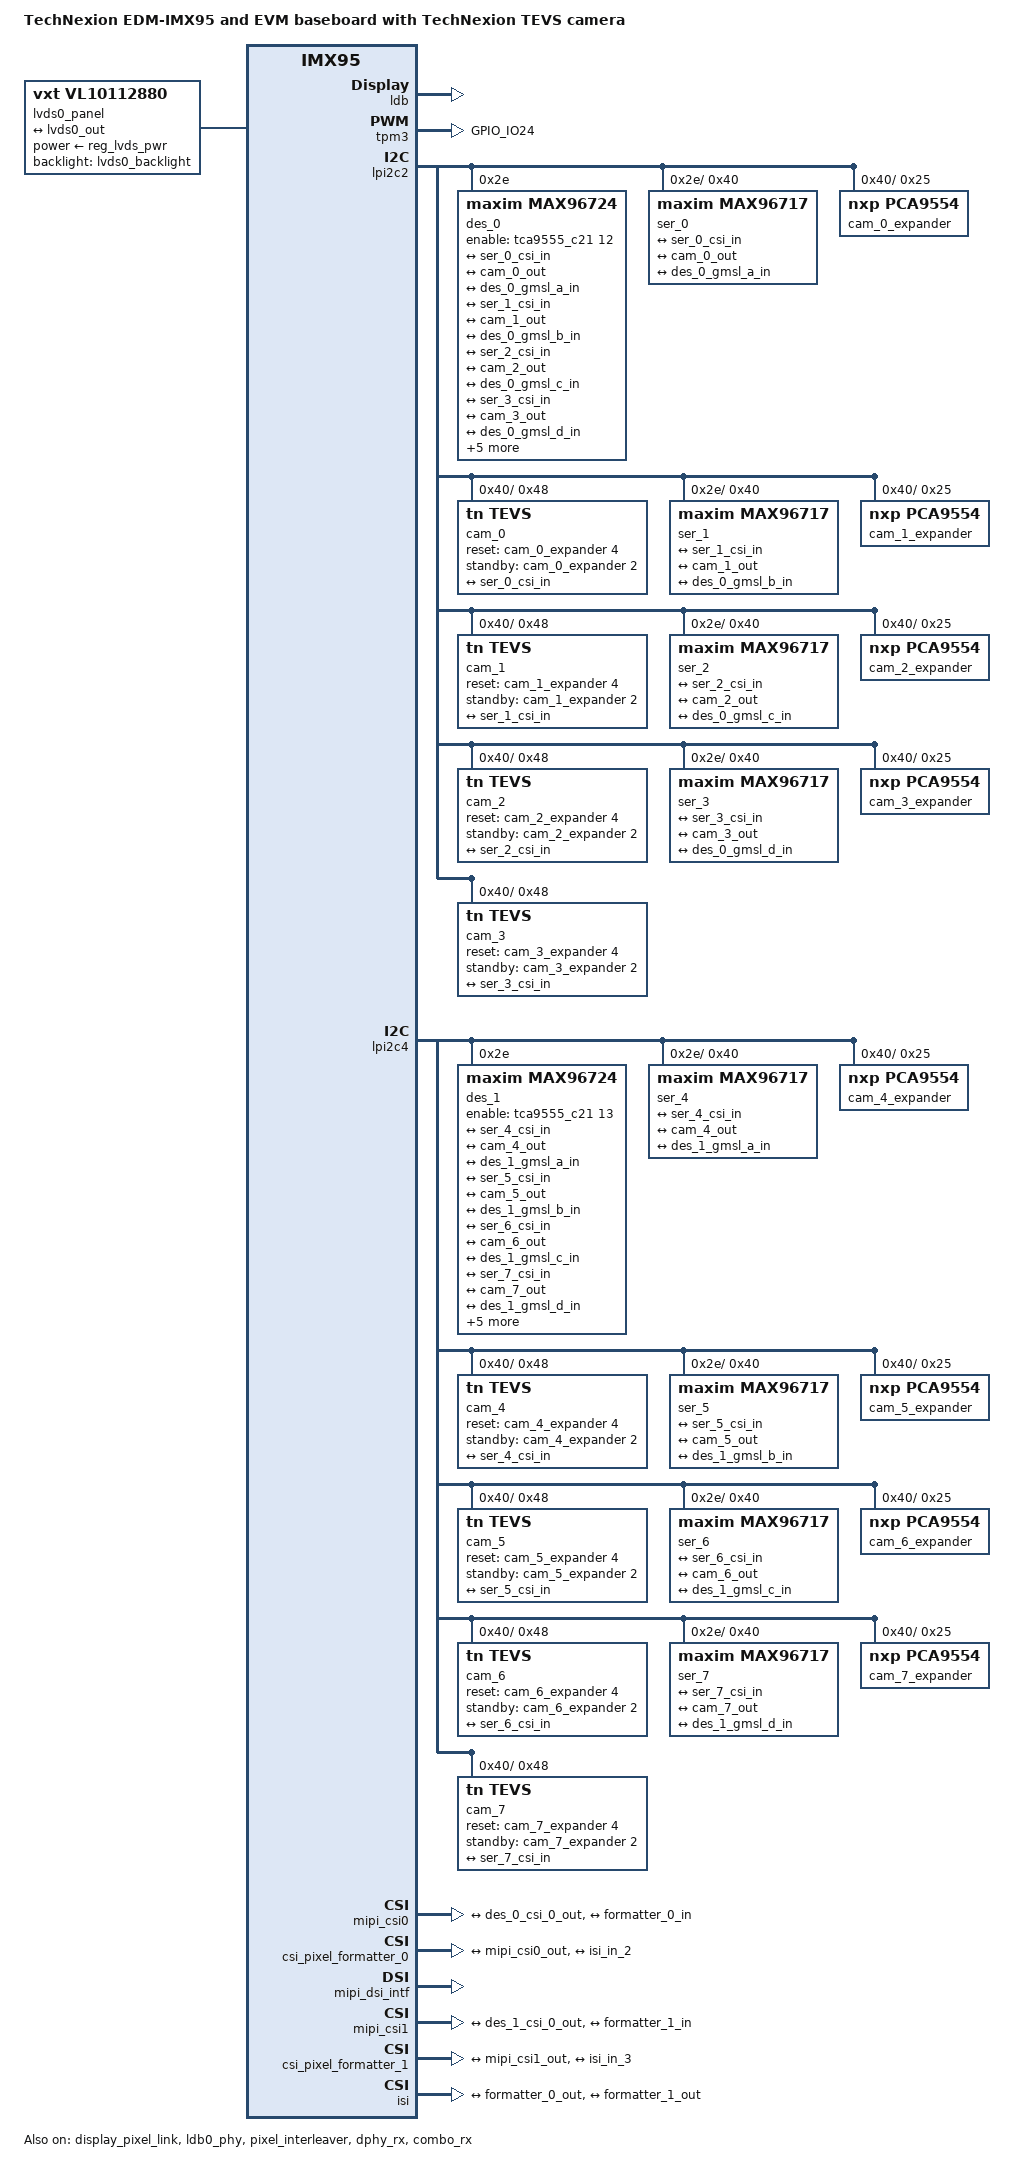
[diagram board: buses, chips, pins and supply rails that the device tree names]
// SPDX-License-Identifier: (GPL-2.0 OR MIT)
/*
 * Copyright 2024 TechNexion Ltd.
 *
 * Author: Richard Hu <richard.hu@technexion.com>
 *
 */

/dts-v1/;

#include "imx95-edm-evm.dts"

/ {
	model = "TechNexion EDM-IMX95 and EVM baseboard with TechNexion TEVS camera";
	compatible = "fsl,imx95-edm", "fsl,imx95";

	reg_lvds_pwr: regulator-lvds-pwr {	/* LVDS0_VDDEN */
		status = "okay";
	};

	lvds0_backlight: backlight {
		status = "okay";
	};

	lvds0_panel {
		compatible = "vxt,vl10112880", "panel-lvds";
		backlight = <&lvds0_backlight>;
		power-supply = <&reg_lvds_pwr>;
		data-mapping = "vesa-24";
		height-mm = <161>;
		width-mm = <243>;
		panel-timing {
			clock-frequency = <71100000>;
			hactive = <1280>;
			vactive = <800>;
			hback-porch = <40>;
			hfront-porch = <40>;
			vback-porch = <10>;
			vfront-porch = <3>;
			hsync-len = <80>;
			vsync-len = <10>;
			de-active = <1>;
		};
		port {
			panel_in: endpoint {
				remote-endpoint = <&lvds0_out>;
			};
		};
	};

};

&display_pixel_link {
	status = "okay";
};

&ldb {
	#address-cells = <1>;
	#size-cells = <0>;
	assigned-clocks = <&scmi_clk IMX95_CLK_LDBPLL_VCO>,
			  <&scmi_clk IMX95_CLK_LDBPLL>;
	assigned-clock-rates = <2986200000>, <497700000>;
	status = "okay";

	channel@0 {
		#address-cells = <1>;
		#size-cells = <0>;
		reg = <0>;
		status = "okay";

		port@1 {
			reg = <1>;

			lvds0_out: endpoint {
				remote-endpoint = <&panel_in>;
			};
		};
	};
};

&ldb0_phy {
	status = "okay";
};

&pixel_interleaver {
	#address-cells = <1>;
	#size-cells = <0>;
	status = "okay";

	channel@0 {
		reg = <0>;
		status = "okay";
	};
};

&scmi_iomuxc {
	pinctrl_csi_tmp3: tpm3grp {
		fsl,pins = <
			IMX95_PAD_GPIO_IO24__TPM3_CH3	0x31e
			// IMX95_PAD_GPIO_IO24__GPIO2_IO_BIT24	0x31e
		>;
	};
};

&tpm3 {
	pinctrl-names = "default";
	pinctrl-0 = <&pinctrl_csi_tmp3>;
	status = "okay";
};

/* VLS-GM2 on MIPI CSI0 */
&lpi2c2 {
	#address-cells = <1>;
	#size-cells = <0>;
	status = "okay";

	des_0: max96724@2e {
		compatible = "maxim,max96724";
		reg = <0x2e>;
		status = "okay";

		#address-cells = <1>;
		#size-cells = <0>;

		enable-gpios = <&tca9555_c21 12 GPIO_ACTIVE_HIGH>;

		i2c-alias-pool = <0x41 0x42 0x43 0x44>;

		fsync-mode = "external";
		fsync-freq = <30>;

		i2c-atr {
			#address-cells = <1>;
			#size-cells = <0>;

			des_0_i2c_0: i2c@0 {
				#address-cells = <1>;
				#size-cells = <0>;
				reg = <0>;
			};

			des_0_i2c_1: i2c@1 {
				#address-cells = <1>;
				#size-cells = <0>;
				reg = <1>;
			};

			des_0_i2c_2: i2c@2 {
				#address-cells = <1>;
				#size-cells = <0>;
				reg = <2>;
			};

			des_0_i2c_3: i2c@3 {
				#address-cells = <1>;
				#size-cells = <0>;
				reg = <3>;
			};
		};

		ports {
			#address-cells = <1>;
			#size-cells = <0>;

			port@0 {
				#address-cells = <1>;
				#size-cells = <0>;
				reg = <0>;

				des_0_gmsl_a_in: endpoint@0 {
					remote-endpoint = <&ser_0_gmsl_out>;
				};
			};

			port@1 {
				#address-cells = <1>;
				#size-cells = <0>;
				reg = <1>;

				des_0_gmsl_b_in: endpoint@0 {
					remote-endpoint = <&ser_1_gmsl_out>;
				};
			};

			port@2 {
				#address-cells = <1>;
				#size-cells = <0>;
				reg = <2>;

				des_0_gmsl_c_in: endpoint@0 {
					remote-endpoint = <&ser_2_gmsl_out>;
				};
			};

			port@3 {
				#address-cells = <1>;
				#size-cells = <0>;
				reg = <3>;

				des_0_gmsl_d_in: endpoint@0 {
					remote-endpoint = <&ser_3_gmsl_out>;
				};
			};

			port@4 {
				#address-cells = <1>;
				#size-cells = <0>;
				reg = <4>;

				des_0_csi_0_out: endpoint@0 {
					data-lanes = <1 2 3 4>;
					clock-lanes = <0>;
					bus-type = <4>;
					link-frequencies = /bits/ 64 <1250000000>;
					remote-endpoint = <&mipi_csi0_ep>;
				};
			};
		};
	};
};

&des_0_i2c_0 {
	ser_0: serializer@40 {
		compatible = "maxim,max96717";
		reg = <0x40>;

		gpio-controller;
		#gpio-cells = <2>;
		#clock-cells = <0>;

		i2c-alias-pool = <0x29 0x49>;

		pinctrl-names = "default";
		pinctrl-0 = <&ser_0_fsync>;

		ser_0_fsync: mfp0-pins {
			pins = "mfp0";
			function = "gpio";
			maxim,rx-id = <7>;
			rx-enable;
			output-enable;
			output-low;
		};

		i2c-atr {
			#address-cells = <1>;
			#size-cells = <0>;

			i2c@0 {
				#address-cells = <1>;
				#size-cells = <0>;
				reg = <0>;

				cam_0_expander: pca9554@25 {
					compatible = "nxp,pca9554";
					reg = <0x25>;
					gpio-controller;
					#gpio-cells = <2>;
					gpio-line-names = "EXPOSURE_TRIG_IN",
									"FLASH_OUT",
									"INFO_TRIG_IN",
									"CAMA_SHUTTER",
									"CSI_P1_nRST",
									"PWR_TIME0",
									"PWR_TIME1",
									"3V3_EN";
					status = "okay";
				};

				cam_0: tevs@48 {
					compatible = "tn,tevs";
					reg = <0x48>;
					status = "okay";

					reset-gpios = <&cam_0_expander 4 GPIO_ACTIVE_HIGH>;
					standby-gpios = <&cam_0_expander 2 GPIO_ACTIVE_HIGH>;

					trigger-mode = <2>;

					port {
						cam_0_out: endpoint {
							remote-endpoint = <&ser_0_csi_in>;
							data-lanes = <1 2>;
							clock-lanes = <0>;
							clock-noncontinuous;
							link-frequencies = /bits/ 64 <400000000>;
						};
					};
				};
			};
		};

		ports {
			#address-cells = <1>;
			#size-cells = <0>;

			port@0 {
				#address-cells = <1>;
				#size-cells = <0>;
				reg = <0>;
				ser_0_csi_in: endpoint {
					data-lanes = <1 2>;
					clock-noncontinuous;
					remote-endpoint = <&cam_0_out>;
				};
			};

			port@1 {
				reg = <1>;
				ser_0_gmsl_out: endpoint {
					remote-endpoint = <&des_0_gmsl_a_in>;
				};
			};
		};
	};
};

&des_0_i2c_1 {
	ser_1: serializer@40 {
		compatible = "maxim,max96717";
		reg = <0x40>;

		gpio-controller;
		#gpio-cells = <2>;
		#clock-cells = <0>;

		i2c-alias-pool = <0x2a 0x4a>;

		pinctrl-names = "default";
		pinctrl-0 = <&ser_1_fsync>;

		ser_1_fsync: mfp0-pins {
			pins = "mfp0";
			function = "gpio";
			maxim,rx-id = <7>;
			rx-enable;
			output-enable;
			output-low;
		};

		i2c-atr {
			#address-cells = <1>;
			#size-cells = <0>;

			i2c@0 {
				#address-cells = <1>;
				#size-cells = <0>;
				reg = <0>;

				cam_1_expander: pca9554@25 {
					compatible = "nxp,pca9554";
					reg = <0x25>;
					gpio-controller;
					#gpio-cells = <2>;
					gpio-line-names = "EXPOSURE_TRIG_IN",
									"FLASH_OUT",
									"INFO_TRIG_IN",
									"CAMA_SHUTTER",
									"CSI_P1_nRST",
									"PWR_TIME0",
									"PWR_TIME1",
									"3V3_EN";
					status = "okay";
				};

				cam_1: tevs@48 {
					compatible = "tn,tevs";
					reg = <0x48>;
					status = "okay";

					reset-gpios = <&cam_1_expander 4 GPIO_ACTIVE_HIGH>;
					standby-gpios = <&cam_1_expander 2 GPIO_ACTIVE_HIGH>;

					trigger-mode = <2>;

					port {
						cam_1_out: endpoint {
							remote-endpoint = <&ser_1_csi_in>;
							data-lanes = <1 2>;
							clock-lanes = <0>;
							clock-noncontinuous;
							link-frequencies = /bits/ 64 <400000000>;
						};
					};
				};
			};
		};

		ports {
			#address-cells = <1>;
			#size-cells = <0>;

			port@0 {
				reg = <0>;
				ser_1_csi_in: endpoint {
					data-lanes = <1 2>;
					clock-noncontinuous;
					remote-endpoint = <&cam_1_out>;
				};
			};

			port@1 {
				reg = <1>;
				ser_1_gmsl_out: endpoint {
					remote-endpoint = <&des_0_gmsl_b_in>;
				};
			};
		};
	};
};

&des_0_i2c_2 {
	ser_2: serializer@40 {
		compatible = "maxim,max96717";
		reg = <0x40>;

		gpio-controller;
		#gpio-cells = <2>;
		#clock-cells = <0>;

		i2c-alias-pool = <0x2b 0x4b>;

		pinctrl-names = "default";
		pinctrl-0 = <&ser_2_fsync>;

		ser_2_fsync: mfp0-pins {
			pins = "mfp0";
			function = "gpio";
			maxim,rx-id = <7>;
			rx-enable;
			output-enable;
			output-low;
		};

		i2c-atr {
			#address-cells = <1>;
			#size-cells = <0>;

			i2c@0 {
				#address-cells = <1>;
				#size-cells = <0>;
				reg = <0>;

				cam_2_expander: pca9554@25 {
					compatible = "nxp,pca9554";
					reg = <0x25>;
					gpio-controller;
					#gpio-cells = <2>;
					gpio-line-names = "EXPOSURE_TRIG_IN",
									"FLASH_OUT",
									"INFO_TRIG_IN",
									"CAMA_SHUTTER",
									"CSI_P1_nRST",
									"PWR_TIME0",
									"PWR_TIME1",
									"3V3_EN";
					status = "okay";
				};

				cam_2: tevs@48 {
					compatible = "tn,tevs";
					reg = <0x48>;
					status = "okay";

					reset-gpios = <&cam_2_expander 4 GPIO_ACTIVE_HIGH>;
					standby-gpios = <&cam_2_expander 2 GPIO_ACTIVE_HIGH>;

					trigger-mode = <2>;

					port {
						cam_2_out: endpoint {
							remote-endpoint = <&ser_2_csi_in>;
							data-lanes = <1 2>;
							clock-lanes = <0>;
							clock-noncontinuous;
							link-frequencies = /bits/ 64 <400000000>;
						};
					};
				};
			};
		};

		ports {
			#address-cells = <1>;
			#size-cells = <0>;

			port@0 {
				reg = <0>;
				ser_2_csi_in: endpoint {
					data-lanes = <1 2>;
					clock-noncontinuous;
					remote-endpoint = <&cam_2_out>;
				};
			};

			port@1 {
				reg = <1>;
				ser_2_gmsl_out: endpoint {
					remote-endpoint = <&des_0_gmsl_c_in>;
				};
			};
		};
	};
};

&des_0_i2c_3 {
	ser_3: serializer@40 {
		compatible = "maxim,max96717";
		reg = <0x40>;

		gpio-controller;
		#gpio-cells = <2>;
		#clock-cells = <0>;

		i2c-alias-pool = <0x2c 0x4c>;

		pinctrl-names = "default";
		pinctrl-0 = <&ser_3_fsync>;

		ser_3_fsync: mfp0-pins {
			pins = "mfp0";
			function = "gpio";
			maxim,rx-id = <7>;
			rx-enable;
			output-enable;
			output-low;
		};

		i2c-atr {
			#address-cells = <1>;
			#size-cells = <0>;

			i2c@0 {
				#address-cells = <1>;
				#size-cells = <0>;
				reg = <0>;

				cam_3_expander: pca9554@25 {
					compatible = "nxp,pca9554";
					reg = <0x25>;
					gpio-controller;
					#gpio-cells = <2>;
					gpio-line-names = "EXPOSURE_TRIG_IN",
									"FLASH_OUT",
									"INFO_TRIG_IN",
									"CAMA_SHUTTER",
									"CSI_P1_nRST",
									"PWR_TIME0",
									"PWR_TIME1",
									"3V3_EN";
					status = "okay";
				};

				cam_3: tevs@48 {
					compatible = "tn,tevs";
					reg = <0x48>;
					status = "okay";

					reset-gpios = <&cam_3_expander 4 GPIO_ACTIVE_HIGH>;
					standby-gpios = <&cam_3_expander 2 GPIO_ACTIVE_HIGH>;

					trigger-mode = <2>;

					port {
						cam_3_out: endpoint {
							remote-endpoint = <&ser_3_csi_in>;
							data-lanes = <1 2>;
							clock-lanes = <0>;
							clock-noncontinuous;
							link-frequencies = /bits/ 64 <400000000>;
						};
					};
				};
			};
		};

		ports {
			#address-cells = <1>;
			#size-cells = <0>;

			port@0 {
				reg = <0>;
				ser_3_csi_in: endpoint {
					data-lanes = <1 2>;
					clock-noncontinuous;
					remote-endpoint = <&cam_3_out>;
				};
			};

			port@1 {
				reg = <1>;
				ser_3_gmsl_out: endpoint {
					remote-endpoint = <&des_0_gmsl_d_in>;
				};
			};
		};
	};
};

/* VLS-GM2 on MIPI CSI1 */
&lpi2c4 {
	#address-cells = <1>;
	#size-cells = <0>;
	status = "okay";

	des_1: max96724@2e {
		compatible = "maxim,max96724";
		reg = <0x2e>;
		status = "okay";

		#address-cells = <1>;
		#size-cells = <0>;

		enable-gpios = <&tca9555_c21 13 GPIO_ACTIVE_HIGH>;

		i2c-alias-pool = <0x41 0x42 0x43 0x44>;

		fsync-mode = "external";
		fsync-freq = <30>;

		i2c-atr {
			#address-cells = <1>;
			#size-cells = <0>;

			des_1_i2c_0: i2c@0 {
				#address-cells = <1>;
				#size-cells = <0>;
				reg = <0>;
			};

			des_1_i2c_1: i2c@1 {
				#address-cells = <1>;
				#size-cells = <0>;
				reg = <1>;
			};

			des_1_i2c_2: i2c@2 {
				#address-cells = <1>;
				#size-cells = <0>;
				reg = <2>;
			};

			des_1_i2c_3: i2c@3 {
				#address-cells = <1>;
				#size-cells = <0>;
				reg = <3>;
			};
		};

		ports {
			#address-cells = <1>;
			#size-cells = <0>;

			port@0 {
				#address-cells = <1>;
				#size-cells = <0>;
				reg = <0>;

				des_1_gmsl_a_in: endpoint@0 {
					remote-endpoint = <&ser_4_gmsl_out>;
				};
			};

			port@1 {
				#address-cells = <1>;
				#size-cells = <0>;
				reg = <1>;

				des_1_gmsl_b_in: endpoint@0 {
					remote-endpoint = <&ser_5_gmsl_out>;
				};
			};

			port@2 {
				#address-cells = <1>;
				#size-cells = <0>;
				reg = <2>;

				des_1_gmsl_c_in: endpoint@0 {
					remote-endpoint = <&ser_6_gmsl_out>;
				};
			};

			port@3 {
				#address-cells = <1>;
				#size-cells = <0>;
				reg = <3>;

				des_1_gmsl_d_in: endpoint@0 {
					remote-endpoint = <&ser_7_gmsl_out>;
				};
			};

			port@4 {
				#address-cells = <1>;
				#size-cells = <0>;
				reg = <4>;

				des_1_csi_0_out: endpoint@0 {
					data-lanes = <1 2 3 4>;
					clock-lanes = <0>;
					bus-type = <4>;
					link-frequencies = /bits/ 64 <750000000>;
					remote-endpoint = <&mipi_csi1_ep>;
				};
			};
		};
	};
};

&des_1_i2c_0 {
	ser_4: serializer@40 {
		compatible = "maxim,max96717";
		reg = <0x40>;

		gpio-controller;
		#gpio-cells = <2>;
		#clock-cells = <0>;

		i2c-alias-pool = <0x29 0x49>;

		pinctrl-names = "default";
		pinctrl-0 = <&ser_4_fsync>;

		ser_4_fsync: mfp0-pins {
			pins = "mfp0";
			function = "gpio";
			maxim,rx-id = <7>;
			rx-enable;
			output-enable;
			output-low;
		};

		i2c-atr {
			#address-cells = <1>;
			#size-cells = <0>;

			i2c@0 {
				#address-cells = <1>;
				#size-cells = <0>;
				reg = <0>;

				cam_4_expander: pca9554@25 {
					compatible = "nxp,pca9554";
					reg = <0x25>;
					gpio-controller;
					#gpio-cells = <2>;
					gpio-line-names = "EXPOSURE_TRIG_IN",
									"FLASH_OUT",
									"INFO_TRIG_IN",
									"CAMA_SHUTTER",
									"CSI_P1_nRST",
									"PWR_TIME0",
									"PWR_TIME1",
									"3V3_EN";
					status = "okay";
				};

				cam_4: tevs@48 {
					compatible = "tn,tevs";
					reg = <0x48>;
					status = "okay";

					reset-gpios = <&cam_4_expander 4 GPIO_ACTIVE_HIGH>;
					standby-gpios = <&cam_4_expander 2 GPIO_ACTIVE_HIGH>;

					trigger-mode = <2>;

					port {
						cam_4_out: endpoint {
							remote-endpoint = <&ser_4_csi_in>;
							data-lanes = <1 2>;
							clock-lanes = <0>;
							clock-noncontinuous;
							link-frequencies = /bits/ 64 <400000000>;
						};
					};
				};
			};
		};

		ports {
			#address-cells = <1>;
			#size-cells = <0>;

			port@0 {
				#address-cells = <1>;
				#size-cells = <0>;
				reg = <0>;
				ser_4_csi_in: endpoint {
					data-lanes = <1 2>;
					clock-noncontinuous;
					remote-endpoint = <&cam_4_out>;
				};
			};

			port@1 {
				reg = <1>;
				ser_4_gmsl_out: endpoint {
					remote-endpoint = <&des_1_gmsl_a_in>;
				};
			};
		};
	};
};

&des_1_i2c_1 {
	ser_5: serializer@40 {
		compatible = "maxim,max96717";
		reg = <0x40>;

		gpio-controller;
		#gpio-cells = <2>;
		#clock-cells = <0>;

		i2c-alias-pool = <0x2a 0x4a>;

		pinctrl-names = "default";
		pinctrl-0 = <&ser_5_fsync>;

		ser_5_fsync: mfp0-pins {
			pins = "mfp0";
			function = "gpio";
			maxim,rx-id = <7>;
			rx-enable;
			output-enable;
			output-low;
		};

		i2c-atr {
			#address-cells = <1>;
			#size-cells = <0>;

			i2c@0 {
				#address-cells = <1>;
				#size-cells = <0>;
				reg = <0>;

				cam_5_expander: pca9554@25 {
					compatible = "nxp,pca9554";
					reg = <0x25>;
					gpio-controller;
					#gpio-cells = <2>;
					gpio-line-names = "EXPOSURE_TRIG_IN",
									"FLASH_OUT",
									"INFO_TRIG_IN",
									"CAMA_SHUTTER",
									"CSI_P1_nRST",
									"PWR_TIME0",
									"PWR_TIME1",
									"3V3_EN";
					status = "okay";
				};

				cam_5: tevs@48 {
					compatible = "tn,tevs";
					reg = <0x48>;
					status = "okay";

					reset-gpios = <&cam_5_expander 4 GPIO_ACTIVE_HIGH>;
					standby-gpios = <&cam_5_expander 2 GPIO_ACTIVE_HIGH>;

					trigger-mode = <2>;

					port {
						cam_5_out: endpoint {
							remote-endpoint = <&ser_5_csi_in>;
							data-lanes = <1 2>;
							clock-lanes = <0>;
							clock-noncontinuous;
							link-frequencies = /bits/ 64 <400000000>;
						};
					};
				};
			};
		};

		ports {
			#address-cells = <1>;
			#size-cells = <0>;

			port@0 {
				reg = <0>;
				ser_5_csi_in: endpoint {
					data-lanes = <1 2>;
					clock-noncontinuous;
					remote-endpoint = <&cam_5_out>;
				};
			};

			port@1 {
				reg = <1>;
				ser_5_gmsl_out: endpoint {
					remote-endpoint = <&des_1_gmsl_b_in>;
				};
			};
		};
	};
};

&des_1_i2c_2 {
	ser_6: serializer@40 {
		compatible = "maxim,max96717";
		reg = <0x40>;

		gpio-controller;
		#gpio-cells = <2>;
		#clock-cells = <0>;

		i2c-alias-pool = <0x2b 0x4b>;

		pinctrl-names = "default";
		pinctrl-0 = <&ser_6_fsync>;

		ser_6_fsync: mfp0-pins {
			pins = "mfp0";
			function = "gpio";
			maxim,rx-id = <7>;
			rx-enable;
			output-enable;
			output-low;
		};

		i2c-atr {
			#address-cells = <1>;
			#size-cells = <0>;

			i2c@0 {
				#address-cells = <1>;
				#size-cells = <0>;
				reg = <0>;

				cam_6_expander: pca9554@25 {
					compatible = "nxp,pca9554";
					reg = <0x25>;
					gpio-controller;
					#gpio-cells = <2>;
					gpio-line-names = "EXPOSURE_TRIG_IN",
									"FLASH_OUT",
									"INFO_TRIG_IN",
									"CAMA_SHUTTER",
									"CSI_P1_nRST",
									"PWR_TIME0",
									"PWR_TIME1",
									"3V3_EN";
					status = "okay";
				};

				cam_6: tevs@48 {
					compatible = "tn,tevs";
					reg = <0x48>;
					status = "okay";

					reset-gpios = <&cam_6_expander 4 GPIO_ACTIVE_HIGH>;
					standby-gpios = <&cam_6_expander 2 GPIO_ACTIVE_HIGH>;

					trigger-mode = <2>;

					port {
						cam_6_out: endpoint {
							remote-endpoint = <&ser_6_csi_in>;
							data-lanes = <1 2>;
							clock-lanes = <0>;
							clock-noncontinuous;
							link-frequencies = /bits/ 64 <400000000>;
						};
					};
				};
			};
		};

		ports {
			#address-cells = <1>;
			#size-cells = <0>;

			port@0 {
				reg = <0>;
				ser_6_csi_in: endpoint {
					data-lanes = <1 2>;
					clock-noncontinuous;
					remote-endpoint = <&cam_6_out>;
				};
			};

			port@1 {
				reg = <1>;
				ser_6_gmsl_out: endpoint {
					remote-endpoint = <&des_1_gmsl_c_in>;
				};
			};
		};
	};
};

&des_1_i2c_3 {
	ser_7: serializer@40 {
		compatible = "maxim,max96717";
		reg = <0x40>;

		gpio-controller;
		#gpio-cells = <2>;
		#clock-cells = <0>;

		i2c-alias-pool = <0x2c 0x4c>;

		pinctrl-names = "default";
		pinctrl-0 = <&ser_7_fsync>;

		ser_7_fsync: mfp0-pins {
			pins = "mfp0";
			function = "gpio";
			maxim,rx-id = <7>;
			rx-enable;
			output-enable;
			output-low;
		};

		i2c-atr {
			#address-cells = <1>;
			#size-cells = <0>;

			i2c@0 {
				#address-cells = <1>;
				#size-cells = <0>;
				reg = <0>;

				cam_7_expander: pca9554@25 {
					compatible = "nxp,pca9554";
					reg = <0x25>;
					gpio-controller;
					#gpio-cells = <2>;
					gpio-line-names = "EXPOSURE_TRIG_IN",
									"FLASH_OUT",
									"INFO_TRIG_IN",
									"CAMA_SHUTTER",
									"CSI_P1_nRST",
									"PWR_TIME0",
									"PWR_TIME1",
									"3V3_EN";
					status = "okay";
				};

				cam_7: tevs@48 {
					compatible = "tn,tevs";
					reg = <0x48>;
					status = "okay";

					reset-gpios = <&cam_7_expander 4 GPIO_ACTIVE_HIGH>;
					standby-gpios = <&cam_7_expander 2 GPIO_ACTIVE_HIGH>;

					trigger-mode = <2>;

					port {
						cam_7_out: endpoint {
							remote-endpoint = <&ser_7_csi_in>;
							data-lanes = <1 2>;
							clock-lanes = <0>;
							clock-noncontinuous;
							link-frequencies = /bits/ 64 <400000000>;
						};
					};
				};
			};
		};

		ports {
			#address-cells = <1>;
			#size-cells = <0>;

			port@0 {
				reg = <0>;
				ser_7_csi_in: endpoint {
					data-lanes = <1 2>;
					clock-noncontinuous;
					remote-endpoint = <&cam_7_out>;
				};
			};

			port@1 {
				reg = <1>;
				ser_7_gmsl_out: endpoint {
					remote-endpoint = <&des_1_gmsl_d_in>;
				};
			};
		};
	};
};

//**CSI-0 Part**//

&dphy_rx {
	status = "okay";
};

&mipi_csi0 {
	status = "okay";

	ports {
		#address-cells = <1>;
		#size-cells = <0>;

		port@0 {
			reg = <0>;
			mipi_csi0_ep: endpoint {
				remote-endpoint = <&des_0_csi_0_out>;
				data-lanes = <1 2 3 4>;
				clock-lanes = <0>;
			};
		};

		port@1 {
			reg = <1>;
			mipi_csi0_out: endpoint {
				remote-endpoint = <&formatter_0_in>;
			};
		};
	};
};

&csi_pixel_formatter_0 {
	status = "okay";

	ports {
		#address-cells = <1>;
		#size-cells = <0>;

		port@0 {
			reg = <0>;

			formatter_0_in: endpoint {
				remote-endpoint = <&mipi_csi0_out>;
			};
		};

		port@1 {
			reg = <1>;

			formatter_0_out: endpoint {
				remote-endpoint = <&isi_in_2>;
			};
		};
	};
};

//**CSI-1 Part**//

&display_stream_csr {
	status = "disabled";
};

&display_master_csr {
	status = "disabled";
};

&mipi_tx_phy_csr {
	status = "disabled";
};

&mipi_dsi_intf {
	status = "okay";
};

&combo_rx {
	status = "okay";
};

&mipi_csi1 {
	status = "okay";

	ports {
		#address-cells = <1>;
		#size-cells = <0>;

		port@0 {
			reg = <0>;
			mipi_csi1_ep: endpoint {
				remote-endpoint = <&des_1_csi_0_out>;
				data-lanes = <1 2 3 4>;
				clock-lanes = <0>;
			};
		};

		port@1 {
			reg = <1>;
			mipi_csi1_out: endpoint {
				remote-endpoint = <&formatter_1_in>;
			};
		};
	};
};

&csi_pixel_formatter_1 {
	status = "okay";

	ports {
		#address-cells = <1>;
		#size-cells = <0>;

		port@0 {
			reg = <0>;

			formatter_1_in: endpoint {
				remote-endpoint = <&mipi_csi1_out>;
			};
		};

		port@1 {
			reg = <1>;

			formatter_1_out: endpoint {
				remote-endpoint = <&isi_in_3>;
			};
		};
	};
};

&isi {
	status = "okay";

	ports {
		#address-cells = <1>;
		#size-cells = <0>;

		port@2 {
			reg = <2>;

			isi_in_2: endpoint {
				remote-endpoint = <&formatter_0_out>;
			};
		};

		port@3 {
			reg = <3>;

			isi_in_3: endpoint {
				remote-endpoint = <&formatter_1_out>;
			};
		};
	};
};
